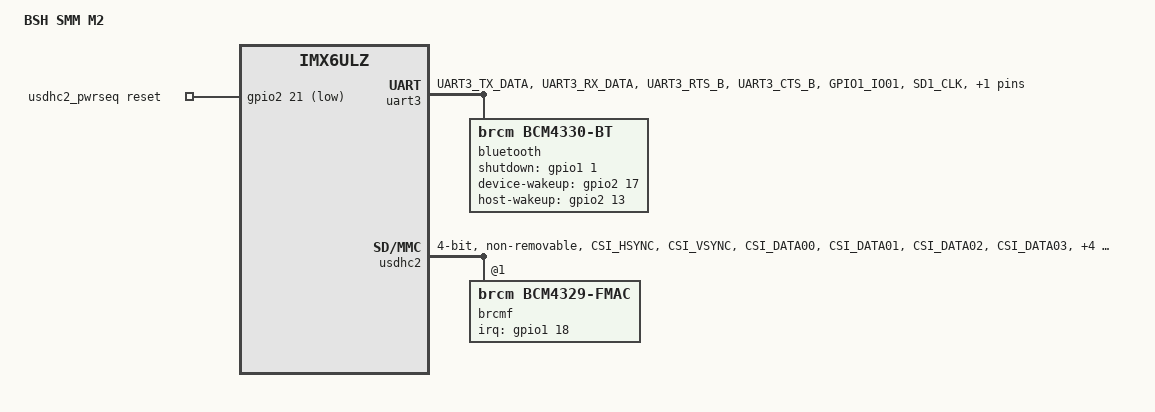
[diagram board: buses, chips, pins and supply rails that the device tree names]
// SPDX-License-Identifier: (GPL-2.0 OR MIT)
/*
 * Copyright (C) 2021 BSH Hausgeraete GmbH
 */

/dts-v1/;

#include "imx6ulz-bsh-smm-m2-common.dtsi"

/ {
	model = "BSH SMM M2";
	compatible = "bsh,imx6ulz-bsh-smm-m2", "fsl,imx6ull", "fsl,imx6ulz";

	usdhc2_pwrseq: usdhc2-pwrseq {
		compatible = "mmc-pwrseq-simple";
		reset-gpios = <&gpio2 21 GPIO_ACTIVE_LOW>;
	};
};

&uart3 {
	pinctrl-names = "default";
	pinctrl-0 = <&pinctrl_uart3>;
	uart-has-rtscts;
	status = "okay";

	bluetooth {
		compatible = "brcm,bcm4330-bt";
		max-speed = <3000000>;
		shutdown-gpios = <&gpio1 1 GPIO_ACTIVE_HIGH>;
		device-wakeup-gpios = <&gpio2 17 GPIO_ACTIVE_HIGH>;
		host-wakeup-gpios = <&gpio2 13 GPIO_ACTIVE_HIGH>;
	};
};

&usdhc2 {
	#address-cells = <1>;
	#size-cells = <0>;
	pinctrl-names = "default";
	pinctrl-0 = <&pinctrl_wlan>;
	bus-width = <4>;
	no-1-8-v;
	non-removable;
	cap-power-off-card;
	keep-power-in-suspend;
	mmc-pwrseq = <&usdhc2_pwrseq>;
	status = "okay";

	brcmf: wifi@1 {
		reg = <1>;
		compatible = "brcm,bcm4329-fmac";
		interrupt-parent = <&gpio1>;
		interrupts = <18 IRQ_TYPE_LEVEL_HIGH>;
		interrupt-names = "host-wake";
	};
};

&iomuxc {
	pinctrl_uart3: uart3grp {
		fsl,pins = <
			MX6UL_PAD_UART3_TX_DATA__UART3_DCE_TX	0x1b0b1
			MX6UL_PAD_UART3_RX_DATA__UART3_DCE_RX	0x1b099
			MX6UL_PAD_UART3_RTS_B__UART3_DCE_RTS	0x1b0b1
			MX6UL_PAD_UART3_CTS_B__UART3_DCE_CTS	0x1b099
			/* BT_REG_ON */
			MX6UL_PAD_GPIO1_IO01__GPIO1_IO01	0x100b1
			/* BT_DEV_WAKE out */
			MX6UL_PAD_SD1_CLK__GPIO2_IO17		0x100b1
			/* BT_HOST_WAKE in */
			MX6UL_PAD_ENET2_TX_EN__GPIO2_IO13	0x1b0b0
		>;
	};

	pinctrl_wlan: wlangrp {
		fsl,pins = <
			MX6UL_PAD_CSI_HSYNC__USDHC2_CMD		0x17059
			MX6UL_PAD_CSI_VSYNC__USDHC2_CLK		0x10059
			MX6UL_PAD_CSI_DATA00__USDHC2_DATA0	0x17059
			MX6UL_PAD_CSI_DATA01__USDHC2_DATA1	0x17059
			MX6UL_PAD_CSI_DATA02__USDHC2_DATA2	0x17059
			MX6UL_PAD_CSI_DATA03__USDHC2_DATA3	0x17059
			/* WL_REG_ON */
			MX6UL_PAD_SD1_DATA3__GPIO2_IO21		0x3029
			/* WL_DEV_WAKE - WiFi_GPIO_4 - WiFi FW UART */
			MX6UL_PAD_UART2_CTS_B__GPIO1_IO22	0x100b1
			/* WL_HOST_WAKE - WIFI_GPIO_0 - OOB IRQ */
			MX6UL_PAD_UART1_CTS_B__GPIO1_IO18	0x130b1
			/* OSC 32Khz wifi clk in */
			MX6UL_PAD_ENET1_RX_EN__OSC32K_32K_OUT	0x4001b031
		>;
	};
};
